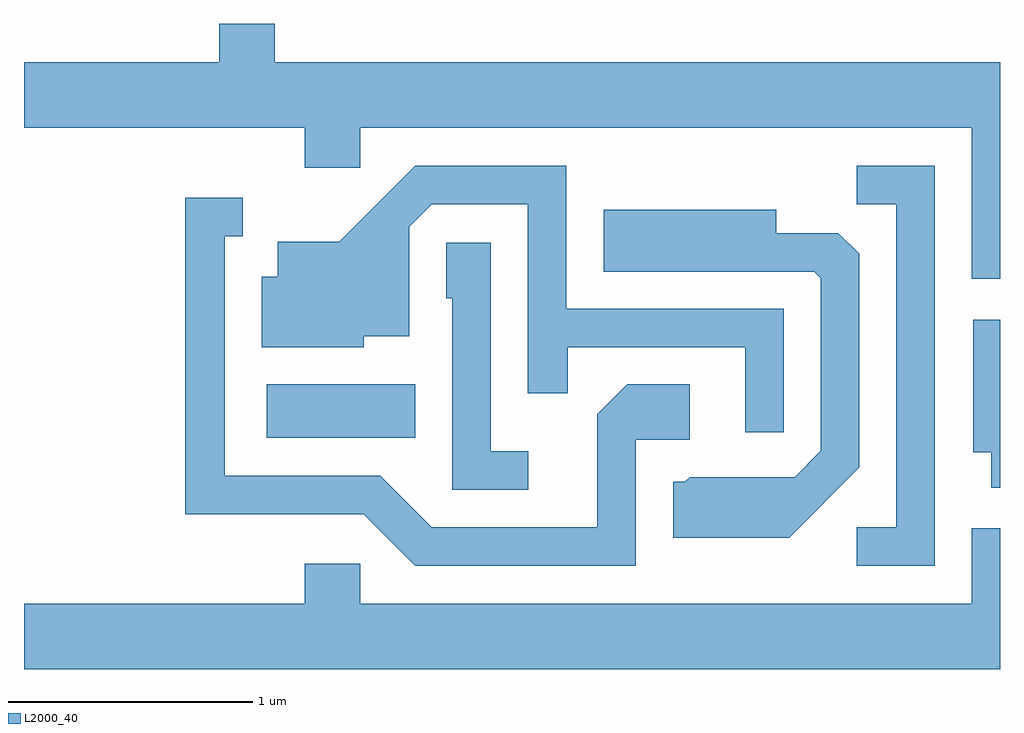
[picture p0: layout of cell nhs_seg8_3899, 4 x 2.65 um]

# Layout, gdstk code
import gdstk
lib = gdstk.Library(unit=1e-6, precision=1e-09)
def R(c, l, rs):  # rectangles x0, y0, x1, y1
    for r in rs: c.add(gdstk.rectangle(r[:2], r[2:], *l))
def P(c, l, *ps):  # polygons
    for p in ps: c.add(gdstk.Polygon(p, *l))
L2000_40 = (2000, 40)

nhs_seg8_3899 = lib.new_cell('nhs_seg8_3899')
R(nhs_seg8_3899, L2000_40, [(302.606,1890.646,303.214,1890.864)])
P(nhs_seg8_3899, L2000_40, [(305.611,1892.184),(302.639,1892.184),(302.639,1892.342),(302.411,1892.342),(302.411,1892.184),(301.611,1892.184),(301.611,1891.916),(302.761,1891.916),(302.761,1891.751),(302.989,1891.751),(302.989,1891.916),(305.496,1891.916),(305.496,1891.296),(305.611,1891.296)],
  [(305.344,1891.759),(305.023,1891.759),(305.023,1891.601),(305.186,1891.601),(305.186,1890.279),(305.023,1890.279),(305.023,1890.121),(305.344,1890.121)],
  [(304.724,1891.174),(303.834,1891.174),(303.834,1891.759),(303.214,1891.759),(302.904,1891.449),(302.651,1891.449),(302.651,1891.304),(302.586,1891.304),(302.586,1891.016),(303.004,1891.016),(303.004,1891.061),(303.189,1891.061),(303.189,1891.509),(303.282,1891.601),(303.676,1891.601),(303.676,1890.828),(303.839,1890.828),(303.839,1891.016),(304.566,1891.016),(304.566,1890.668),(304.724,1890.668)],
  [(304.119,1890.636),(304.339,1890.636),(304.339,1890.864),(304.084,1890.864),(303.961,1890.742),(303.961,1890.279),(303.282,1890.279),(303.072,1890.489),(302.434,1890.489),(302.434,1891.471),(302.508,1891.471),(302.508,1891.629),(302.271,1891.629),(302.271,1890.331),(303.004,1890.331),(303.214,1890.121),(304.119,1890.121)],
  [(305.034,1890.524),(305.034,1891.399),(304.949,1891.484),(304.694,1891.484),(304.694,1891.579),(303.986,1891.579),(303.986,1891.326),(304.849,1891.326),(304.876,1891.299),(304.876,1890.592),(304.769,1890.484),(304.339,1890.484),(304.319,1890.464),(304.271,1890.464),(304.271,1890.236),(304.747,1890.236)],
  [(303.678,1890.589),(303.524,1890.589),(303.524,1891.444),(303.341,1891.444),(303.341,1891.216),(303.366,1891.216),(303.366,1890.431),(303.678,1890.431)],
  [(305.611,1891.129),(305.501,1891.129),(305.501,1890.586),(305.576,1890.586),(305.576,1890.441),(305.611,1890.441)],
  [(305.611,1890.274),(305.496,1890.274),(305.496,1889.964),(302.989,1889.964),(302.989,1890.129),(302.761,1890.129),(302.761,1889.964),(301.611,1889.964),(301.611,1889.696),(305.611,1889.696)])

lib.write_gds('nhs_seg8_3899.gds')
